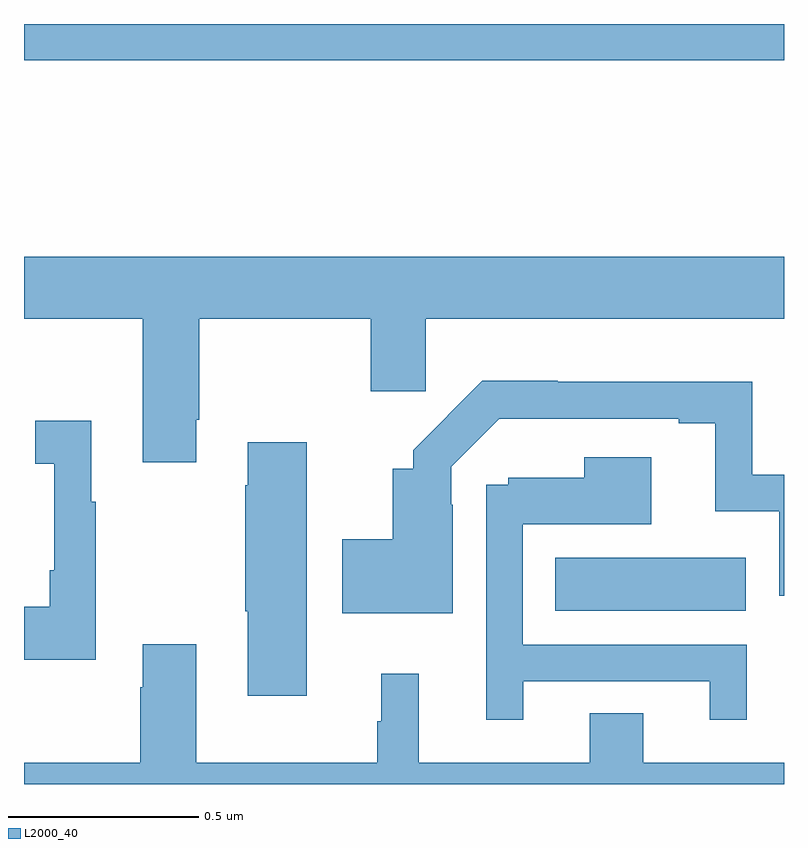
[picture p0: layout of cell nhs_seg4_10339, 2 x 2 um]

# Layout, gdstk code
import gdstk
lib = gdstk.Library(unit=1e-6, precision=1e-09)
def R(c, l, rs):  # rectangles x0, y0, x1, y1
    for r in rs: c.add(gdstk.rectangle(r[:2], r[2:], *l))
def P(c, l, *ps):  # polygons
    for p in ps: c.add(gdstk.Polygon(p, *l))
L2000_40 = (2000, 40)

nhs_seg4_10339 = lib.new_cell('nhs_seg4_10339')
R(nhs_seg4_10339, L2000_40, [(239.398,825.356,239.899,825.496), (238,826.804,240,826.9)])
P(nhs_seg4_10339, L2000_40, [(238.453,825.859),(238.461,825.859),(238.461,826.124),(238.912,826.124),(238.912,825.933),(239.057,825.933),(239.057,826.124),(240,826.124),(240,826.288),(238,826.288),(238,826.124),(238.313,826.124),(238.313,825.747),(238.453,825.747)],
  [(239.128,825.635),(239.124,825.635),(239.124,825.735),(239.25,825.861),(239.723,825.861),(239.723,825.849),(239.819,825.849),(239.819,825.618),(239.988,825.618),(239.988,825.396),(240,825.396),(240,825.714),(239.917,825.714),(239.917,825.958),(239.405,825.958),(239.405,825.961),(239.206,825.961),(239.024,825.778),(239.024,825.73),(238.97,825.73),(238.97,825.544),(238.838,825.544),(238.838,825.35),(239.128,825.35)],
  [(238.189,825.643),(238.177,825.643),(238.177,825.856),(238.029,825.856),(238.029,825.743),(238.08,825.743),(238.08,825.463),(238.068,825.463),(238.068,825.367),(238,825.367),(238,825.227),(238.189,825.227)],
  [(238.744,825.799),(238.589,825.799),(238.589,825.686),(238.582,825.686),(238.582,825.355),(238.589,825.355),(238.589,825.132),(238.744,825.132)],
  [(239.314,825.171),(239.804,825.171),(239.804,825.069),(239.902,825.069),(239.902,825.267),(239.313,825.267),(239.313,825.584),(239.65,825.584),(239.65,825.76),(239.474,825.76),(239.474,825.706),(239.274,825.706),(239.274,825.687),(239.217,825.687),(239.217,825.069),(239.314,825.069)],
  [(240,824.956),(239.629,824.956),(239.629,825.086),(239.489,825.086),(239.489,824.956),(239.039,824.956),(239.039,825.19),(238.94,825.19),(238.94,825.065),(238.929,825.065),(238.929,824.956),(238.453,824.956),(238.453,825.268),(238.313,825.268),(238.313,825.155),(238.306,825.155),(238.306,824.956),(238,824.956),(238,824.9),(240,824.9)])

lib.write_gds('nhs_seg4_10339.gds')
